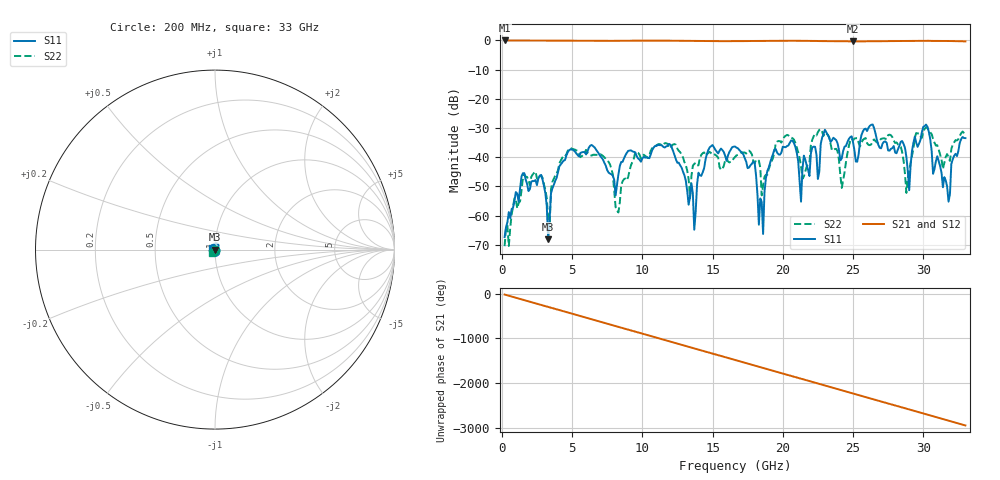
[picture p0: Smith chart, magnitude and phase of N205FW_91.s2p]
# GHZ S RI R 50
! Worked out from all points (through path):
!   329 points, 200 MHz to 33 GHz, reference 50 ohm
!   highest |S21| = -0.01 dB at 200 MHz (marker M1); lowest = -0.3 dB at 25 GHz (marker M2)
!   group delay of S21, straight-line fit = 248 ps
!   lowest |S11| = -68.2 dB at 3.3 GHz (marker M3), VSWR 1.00, Z = 50 - j0.0144 ohm
!   |S11| at or under -10 dB: start of sweep to end of sweep
!   |S22| runs from -70.5 to -29.8 dB; largest |S21 - S12| = 0.0022
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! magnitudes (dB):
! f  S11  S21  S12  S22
! 200 MHz  -67.4  0.0  0.0  -70.5
! 1.6 GHz  -45.5  0.0  0.0  -45.9
! 2.8 GHz  -46.1  -0.1  -0.1  -46.1
! 3.3 GHz  -68.2  -0.1  -0.1  -60.8
! 5.7 GHz  -38.3  -0.2  -0.2  -39.6
! 8.3 GHz  -45.9  -0.1  -0.1  -58.9
! 11.2 GHz  -35.9  -0.1  -0.1  -35.5
! 13.7 GHz  -64.8  -0.2  -0.2  -42.3
! 14.7 GHz  -37.5  -0.2  -0.2  -38.5
! 16.6 GHz  -36.3  -0.2  -0.2  -40.0
! 18 GHz  -41.9  -0.2  -0.2  -42.1
! 18.6 GHz  -66.3  -0.1  -0.1  -49.7
! 19.4 GHz  -37.4  -0.1  -0.1  -38.3
! 21.3 GHz  -55.2  -0.1  -0.1  -43.1
! 22.1 GHz  -36.6  -0.2  -0.2  -34.0
! 24.2 GHz  -40.4  -0.3  -0.3  -50.5
! 25 GHz  -34.8  -0.3  -0.3  -34.3
! 27.6 GHz  -37.8  -0.2  -0.2  -32.3
! 28.8 GHz  -39.9  -0.2  -0.2  -52.2
! 30.2 GHz  -28.8  -0.1  -0.1  -29.8
! 31.8 GHz  -55.2  -0.2  -0.2  -40.1
! 33 GHz  -33.5  -0.3  -0.3  -31.9
